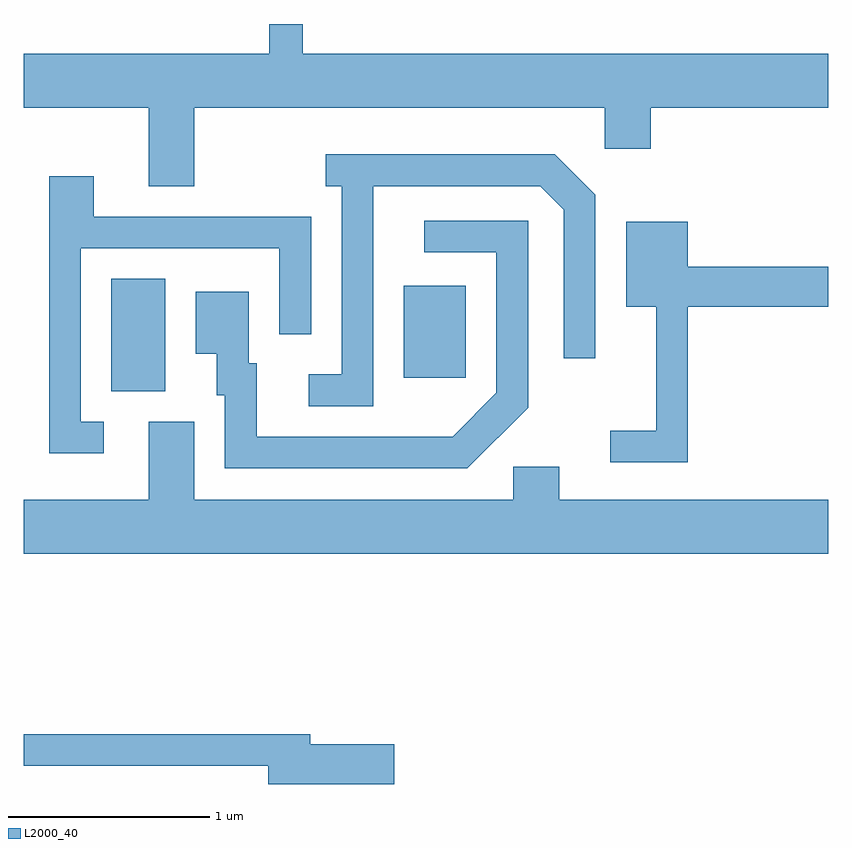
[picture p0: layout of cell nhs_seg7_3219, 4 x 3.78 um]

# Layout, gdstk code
import gdstk
lib = gdstk.Library(unit=1e-6, precision=1e-09)
def R(c, l, rs):  # rectangles x0, y0, x1, y1
    for r in rs: c.add(gdstk.rectangle(r[:2], r[2:], *l))
def P(c, l, *ps):  # polygons
    for p in ps: c.add(gdstk.Polygon(p, *l))
L2000_40 = (2000, 40)

nhs_seg7_3219 = lib.new_cell('nhs_seg7_3219')
R(nhs_seg7_3219, L2000_40, [(284.046,1748.426,284.314,1748.984), (285.501,1748.491,285.809,1748.949)])
P(nhs_seg7_3219, L2000_40, [(284.459,1749.836),(286.501,1749.836),(286.501,1749.631),(286.729,1749.631),(286.729,1749.836),(287.611,1749.836),(287.611,1750.104),(284.999,1750.104),(284.999,1750.252),(284.831,1750.252),(284.831,1750.104),(283.611,1750.104),(283.611,1749.836),(284.231,1749.836),(284.231,1749.446),(284.459,1749.446)],
  [(285.349,1749.446),(286.179,1749.446),(286.296,1749.329),(286.296,1748.588),(286.454,1748.588),(286.454,1749.402),(286.252,1749.604),(285.113,1749.604),(285.113,1749.446),(285.191,1749.446),(285.191,1748.509),(285.028,1748.509),(285.028,1748.351),(285.349,1748.351)],
  [(284.008,1748.274),(283.894,1748.274),(283.894,1749.136),(284.881,1749.136),(284.881,1748.708),(285.039,1748.708),(285.039,1749.294),(283.959,1749.294),(283.959,1749.494),(283.736,1749.494),(283.736,1748.116),(284.008,1748.116)],
  [(286.119,1748.344),(286.119,1749.274),(285.603,1749.274),(285.603,1749.116),(285.961,1749.116),(285.961,1748.417),(285.744,1748.199),(284.769,1748.199),(284.769,1748.564),(284.729,1748.564),(284.729,1748.919),(284.466,1748.919),(284.466,1748.611),(284.571,1748.611),(284.571,1748.406),(284.611,1748.406),(284.611,1748.041),(285.817,1748.041)],
  [(286.914,1748.846),(287.611,1748.846),(287.611,1749.044),(286.914,1749.044),(286.914,1749.269),(286.606,1749.269),(286.606,1748.846),(286.756,1748.846),(286.756,1748.229),(286.528,1748.229),(286.528,1748.071),(286.914,1748.071)],
  [(287.611,1747.884),(286.274,1747.884),(286.274,1748.049),(286.046,1748.049),(286.046,1747.884),(284.459,1747.884),(284.459,1748.274),(284.231,1748.274),(284.231,1747.884),(283.611,1747.884),(283.611,1747.616),(287.611,1747.616)],
  [(285.454,1746.669),(285.034,1746.669),(285.034,1746.719),(283.611,1746.719),(283.611,1746.561),(284.826,1746.561),(284.826,1746.471),(285.454,1746.471)])

lib.write_gds('nhs_seg7_3219.gds')
